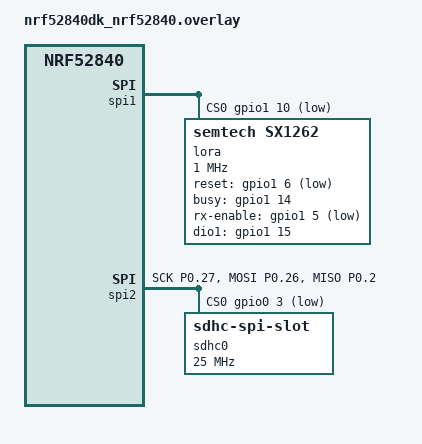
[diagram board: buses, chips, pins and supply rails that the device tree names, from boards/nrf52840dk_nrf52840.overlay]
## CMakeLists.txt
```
# SPDX-License-Identifier: Apache-2.0

cmake_minimum_required(VERSION 3.20.0)

find_package(Zephyr REQUIRED HINTS $ENV{ZEPHYR_BASE})
project(hello_world)

target_sources(app PRIVATE src/main.c
                           src/rak_lorawan.c)
```

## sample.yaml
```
sample:
  name: Hello World
tests:
  sample.hello_world:
    platform_allow:
      - rak3112/esp32s3/procpu
      - rak3172
      - rak3362/nrf54l15/cpuapp
      - rak4631
      - rak5010
      - rak11160
      - rak11720
    tags: rak
    build_only: true
```

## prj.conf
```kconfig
CONFIG_SPI=y
CONFIG_SDHC=y
CONFIG_SDMMC_STACK=y

CONFIG_MAIN_STACK_SIZE=4096
CONFIG_SYSTEM_WORKQUEUE_STACK_SIZE=4096

# Lora
CONFIG_LORA=y
CONFIG_LORAWAN=y
# Select your region
# CONFIG_LORAMAC_REGION_AS923=y
# CONFIG_LORAMAC_REGION_AU915=y
# CONFIG_LORAMAC_REGION_CN470=y
# CONFIG_LORAMAC_REGION_CN779=y
# CONFIG_LORAMAC_REGION_EU433=y
# CONFIG_LORAMAC_REGION_KR920=y
# CONFIG_LORAMAC_REGION_IN865=y
# CONFIG_LORAMAC_REGION_RU864=y
# CONFIG_LORAMAC_REGION_US915=y
CONFIG_LORAMAC_REGION_EU868=y
CONFIG_LORAWAN_SERVICES=n
CONFIG_LORAWAN_NVM_SETTINGS=y

# NVS required to store LoRaWAN DevNonce
# as per LoRaWAN 1.0.4/1.1 Specifications.
CONFIG_FLASH=y
CONFIG_FLASH_MAP=y
CONFIG_NVS=y
CONFIG_SETTINGS=y

# SD Card
CONFIG_DISK_ACCESS=y
CONFIG_FILE_SYSTEM=y
CONFIG_FAT_FILESYSTEM_ELM=y

# Logging
CONFIG_LOG=y
CONFIG_LOG_PRINTK=n
CONFIG_USE_SEGGER_RTT=y
CONFIG_LOG_BACKEND_RTT=y
CONFIG_LOG_BACKEND_UART=n
CONFIG_LOG_BACKEND_FS=y
CONFIG_LOG_BACKEND_FS_OUTPUT_TEXT=y
CONFIG_LOG_BACKEND_FS_DIR="/SD:"
CONFIG_LOG_BACKEND_FS_FILE_PREFIX="log"
CONFIG_LOG_BACKEND_FS_FILES_LIMIT=100
CONFIG_LOG_BACKEND_FS_FILE_SIZE=131072
CONFIG_LOG_BACKEND_FS_OVERWRITE=y
CONFIG_LOG_PROCESS_THREAD=y
CONFIG_LOG_MODE_DEFERRED=y
CONFIG_LOG_BUFFER_SIZE=20000
CONFIG_LOG_PROCESS_THREAD_SLEEP_MS=100
```

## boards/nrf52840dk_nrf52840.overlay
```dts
#include <zephyr/dt-bindings/lora/sx126x.h>

/ {
	aliases {
		lora0 = &lora;
	};
};

&spi1 {
	compatible = "nordic,nrf-spi";
	status = "okay";
	cs-gpios = <&gpio1 10 GPIO_ACTIVE_LOW>;

	pinctrl-0 = <&spi1_default>;
	pinctrl-1 = <&spi1_sleep>;
	pinctrl-names = "default", "sleep";
	lora: lora@0 {
		compatible = "semtech,sx1262";
		reg = <0>;
		reset-gpios = <&gpio1 6 GPIO_ACTIVE_LOW>;
		busy-gpios = <&gpio1 14 GPIO_ACTIVE_HIGH>;
		rx-enable-gpios = <&gpio1 5 GPIO_ACTIVE_LOW>;
		dio1-gpios = <&gpio1 15 GPIO_ACTIVE_HIGH>;
		dio2-tx-enable;
		dio3-tcxo-voltage = <SX126X_DIO3_TCXO_3V3>;
		tcxo-power-startup-delay-ms = <5>;
		spi-max-frequency = <1000000>;
	};
};

&spi2 {
	compatible = "nordic,nrf-spim";
	status = "okay";
	cs-gpios = <&gpio0 3 GPIO_ACTIVE_LOW>;

	pinctrl-0 = <&spi2_default>;
	pinctrl-1 = <&spi2_sleep>;
	pinctrl-names = "default", "sleep";

	sdhc0: sdhc@0 {
		compatible = "zephyr,sdhc-spi-slot";
		reg = <0>;
		status = "okay";

		mmc {
			compatible = "zephyr,sdmmc-disk";
			disk-name = "SD";
			status = "okay";
		};

		spi-max-frequency = <25000000>;
	};
};

&pinctrl {
	spi2_default: spi2_default {
		group1 {
			psels = <NRF_PSEL(SPIM_SCK, 0, 27)>,
				<NRF_PSEL(SPIM_MOSI, 0, 26)>,
				<NRF_PSEL(SPIM_MISO, 0, 2)>;
		};
	};

	spi2_sleep: spi2_sleep {
		group1 {
			psels = <NRF_PSEL(SPIM_SCK, 0, 27)>,
				<NRF_PSEL(SPIM_MOSI, 0, 26)>,
				<NRF_PSEL(SPIM_MISO, 0, 2)>;
			low-power-enable;
		};
	};
};
```

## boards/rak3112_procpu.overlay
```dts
/ {
	chosen {
		zephyr,console = &usb_serial;
		zephyr,shell-uart = &usb_serial;
	};
};

&usb_serial {
	status = "okay";
};
```

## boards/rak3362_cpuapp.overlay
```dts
/ {
	chosen {
		zephyr,console = &uart20;
		zephyr,shell-uart = &uart20;
	};
};

&uart20 {
	status = "okay";
};
```

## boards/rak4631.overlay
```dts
/ {
	chosen {
		zephyr,console = &cdc_acm_uart0;
		zephyr,uart-mcumgr = &cdc_acm_uart0;
	};

	leds {
		compatible = "gpio-leds";
		blue_led: led_2 {
			gpios = <&gpio1 4 GPIO_ACTIVE_HIGH>;
			label = "Blue LED";
		};
		green_led: led_1 {
			gpios = <&gpio1 3 GPIO_ACTIVE_HIGH>;
			label = "Green LED";
		};
	};
};

&reg1 {
	regulator-initial-mode = <NRF5X_REG_MODE_DCDC>;
};

&uart0 {
	status = "disabled";
};

&uart1 {
	status = "disabled";
};

&zephyr_udc0 {
	cdc_acm_uart0: cdc_acm_uart0 {
		compatible = "zephyr,cdc-acm-uart";
	};
};

&spi2 {
	compatible = "nordic,nrf-spim";
	status = "okay";
	cs-gpios = <&gpio0 6 GPIO_ACTIVE_LOW>;

	pinctrl-0 = <&spi2_default>;
	pinctrl-1 = <&spi2_sleep>;
	pinctrl-names = "default", "sleep";

	sdhc0: sdhc@0 {
		compatible = "zephyr,sdhc-spi-slot";
		reg = <0>;
		status = "okay";

		mmc {
			compatible = "zephyr,sdmmc-disk";
			disk-name = "SD";
			status = "okay";
		};

		spi-max-frequency = <25000000>;
	};
};

&pinctrl {
	spi2_default: spi2_default {
		group1 {
			psels = <NRF_PSEL(SPIM_SCK, 0, 27)>,
				<NRF_PSEL(SPIM_MOSI, 0, 5)>,
				<NRF_PSEL(SPIM_MISO, 0, 28)>;
		};
	};

	spi2_sleep: spi2_sleep {
		group1 {
			psels = <NRF_PSEL(SPIM_SCK, 0, 27)>,
				<NRF_PSEL(SPIM_MOSI, 0, 5)>,
				<NRF_PSEL(SPIM_MISO, 0, 28)>;
			low-power-enable;
		};
	};
};
```

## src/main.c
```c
#include <zephyr/device.h>
#include <zephyr/kernel.h>
#include <zephyr/settings/settings.h>
#include <zephyr/storage/disk_access.h>
#include <zephyr/fs/fs.h>
#include <ff.h>

#include "rak_lorawan.h"

#include <zephyr/logging/log.h>
LOG_MODULE_REGISTER(main, LOG_LEVEL_DBG);

FATFS fatfs;
#define MOUNT_POINT "/SD:"
uint16_t index = 1;

static struct fs_mount_t fatfs_mnt = {
	.type = FS_FATFS,
	.mnt_point = MOUNT_POINT,
	.fs_data = &fatfs,
};

static int sd_card_early_init(void)
{
	static const char *disk_pdrv = "SD";
	int ret;

	ret = disk_access_init(disk_pdrv);
	if (ret != 0) {
		LOG_ERR("Failed to init disk: %d", ret);
		return ret;
	}

	ret = fs_mount(&fatfs_mnt);
	if (ret != 0) {
		LOG_ERR("Failed to mount disk: %d", ret);
		return ret;
	}

	return 0;
}

SYS_INIT(sd_card_early_init, APPLICATION, 99);

int main(void)
{
	int ret;

	if (IS_ENABLED(CONFIG_SETTINGS)) {
		settings_load();
	}

	ret = rak_lorawan_init();
	if (ret != 0) {
		LOG_ERR("Failed to start lorawan: %d", ret);
		return 0;
	}

	rak_lorawan_thread_start();

	LOG_INF("LoRaWAN OTAA example started @%s", CONFIG_BOARD);

	while (true) {
		LOG_INF("Hello World! %s - %d", CONFIG_BOARD, index);
		index++;
		k_sleep(K_SECONDS(1));
	}
}
```

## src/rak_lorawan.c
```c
#include <stdio.h>

#include <zephyr/device.h>
#include <zephyr/kernel.h>
#include <zephyr/lorawan/lorawan.h>
#include <zephyr/drivers/gpio.h>

#include <zephyr/logging/log.h>
LOG_MODULE_REGISTER(rak_lorawan, LOG_LEVEL_DBG);

/* Customize based on network configuration */
#define LORAWAN_APP_KEY                                                                            \
	{                                                                                          \
		0x2B, 0x7E, 0x15, 0x16, 0x28, 0xAE, 0xD2, 0xA6, 0xAB, 0xF7, 0x15, 0x88, 0x09,      \
			0xCF, 0x4F, 0x3C                                                           \
	}
#define LORAWAN_DEV_EUI                                                                            \
	{                                                                                          \
		0xDD, 0xEE, 0xAA, 0xDD, 0xBB, 0xEE, 0xEE, 0xFF                                     \
	}
#define LORAWAN_JOIN_EUI                                                                           \
	{                                                                                          \
		0x00, 0x00, 0x00, 0x00, 0x00, 0x00, 0x00, 0x00                                     \
	}

/* 1000 msec = 1 sec */
#define SLEEP_TIME_MS (3 * 60 * 1000)

#define LORAWAN_THREAD_STACKSIZE 4096
#define LORAWAN_THREAD_PRIORITY  10

/*
 * Get LoRa device
 */
static const struct device *lora_dev = DEVICE_DT_GET(DT_ALIAS(lora0));

int rak_lorawan_init()
{
	int ret = 0;

	if (!device_is_ready(lora_dev)) {
		LOG_ERR("%s: device not ready.", lora_dev->name);
		return -1;
	}

	ret = lorawan_start();
	if (ret < 0) {
		LOG_ERR("lorawan_start failed: %d", ret);
	}

	return ret;
}

static void lorawan_dl_callback(uint8_t port, uint8_t flags, int16_t rssi, int8_t snr, uint8_t len,
				const uint8_t *hex_data)
{
	LOG_INF("Port %d, Pending %d, RSSI %ddB, SNR %ddBm, Time %d", port,
		flags & LORAWAN_DATA_PENDING, rssi, snr, !!(flags & LORAWAN_TIME_UPDATED));
	if (hex_data) {
		LOG_HEXDUMP_INF(hex_data, len, "Payload: ");
	}
}

static void lorawan_datarate_changed(enum lorawan_datarate dr)
{
	uint8_t unused, max_size;

	lorawan_get_payload_sizes(&unused, &max_size);
	LOG_INF("New Datarate: DR_%d, Max Payload %d", dr, max_size);
}

void lorawan_thread_handler(void)
{
	static const char buffer[256] = "This is test message!";
	struct lorawan_join_config join_cfg;
	uint8_t dev_eui[] = LORAWAN_DEV_EUI;
	uint8_t join_eui[] = LORAWAN_JOIN_EUI;
	uint8_t app_key[] = LORAWAN_APP_KEY;
	int ret;

	struct lorawan_downlink_cb downlink_cb = {.port = LW_RECV_PORT_ANY,
						  .cb = lorawan_dl_callback};

	lorawan_register_downlink_callback(&downlink_cb);
	lorawan_register_dr_changed_callback(lorawan_datarate_changed);

	join_cfg.mode = LORAWAN_ACT_OTAA;
	join_cfg.dev_eui = dev_eui;
	join_cfg.otaa.join_eui = join_eui;
	join_cfg.otaa.app_key = app_key;
	join_cfg.otaa.nwk_key = app_key;
	join_cfg.otaa.dev_nonce = 0u;

	LOG_INF("Joining network over OTAA");

	do {
		ret = lorawan_join(&join_cfg);
		if (ret < 0) {
			LOG_ERR("lorawan_join to network failed: %d", ret);
		}

		if (ret < 0) {
			LOG_INF("Waiting for retrying to join...");
			k_sleep(K_MSEC(5000));
		}
	} while (ret != 0);

	lorawan_enable_adr(true);

	LOG_INF("Joined network");

	while (1) {
		ret = lorawan_send(2, (uint8_t *)buffer, strlen(buffer), LORAWAN_MSG_CONFIRMED);

		/*
		 * Note: The stack may return -EAGAIN if the provided data
		 * length exceeds the maximum possible one for the region and
		 * datarate. But since we are just sending the same data here,
		 * we'll just continue.
		 */
		if (ret < 0) {
			LOG_ERR("lorawan_send failed: %d", ret);
		} else {
			LOG_INF("Data sent!");
		}

		k_sleep(K_MSEC(SLEEP_TIME_MS));
	}
}
K_THREAD_DEFINE(lorawan_thread_id, LORAWAN_THREAD_STACKSIZE, lorawan_thread_handler, NULL, NULL,
		NULL, LORAWAN_THREAD_PRIORITY, 0, -1);

void rak_lorawan_thread_start()
{
	k_thread_start(lorawan_thread_id);
}
```

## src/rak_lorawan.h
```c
#ifndef RAK_LORAWAN_H__
#define RAK_LORAWAN_H__

int rak_lorawan_init();
void rak_lorawan_thread_start();

#endif
```
